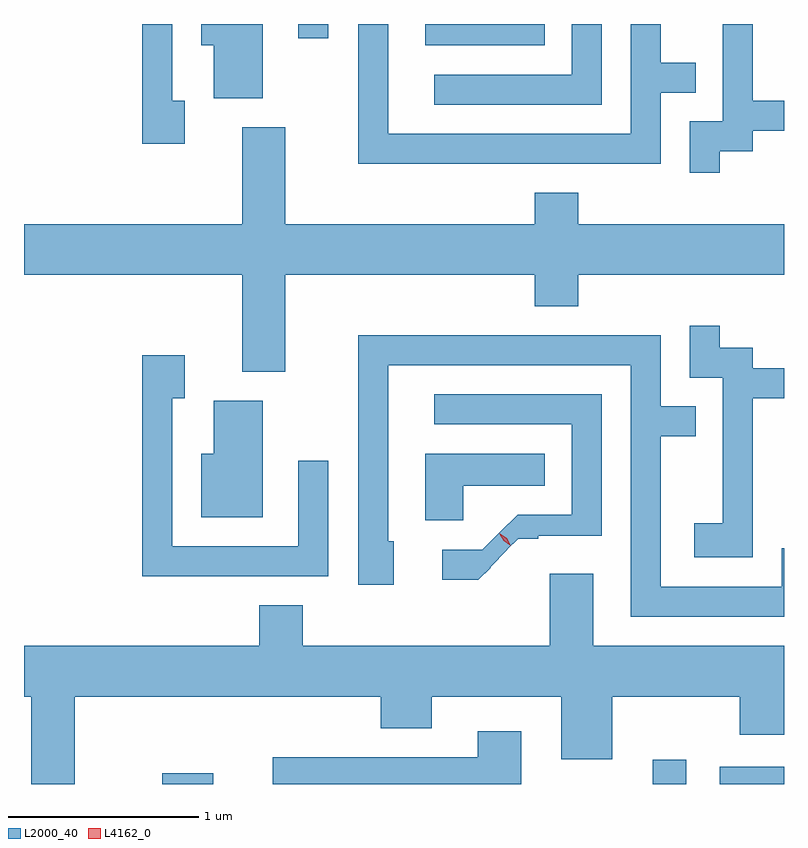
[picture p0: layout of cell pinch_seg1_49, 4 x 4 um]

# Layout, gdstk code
import gdstk
lib = gdstk.Library(unit=1e-6, precision=1e-09)
def R(c, l, rs):  # rectangles x0, y0, x1, y1
    for r in rs: c.add(gdstk.rectangle(r[:2], r[2:], *l))
def P(c, l, *ps):  # polygons
    for p in ps: c.add(gdstk.Polygon(p, *l))
L2000_40 = (2000, 40)
L4162_0 = (4162, 0)

pinch_seg1_49 = lib.new_cell('pinch_seg1_49')
R(pinch_seg1_49, L2000_40, [(1384.961,903.557,1385.229,903.614), (1387.541,903.557,1387.719,903.684), (1387.896,903.557,1388.233,903.649), (1386.346,907.446,1386.973,907.557), (1385.676,907.483,1385.834,907.557)])
P(pinch_seg1_49, L2000_40, [(1385.489,907.557),(1385.166,907.557),(1385.166,907.446),(1385.231,907.446),(1385.231,907.166),(1385.489,907.166)],
  [(1387.584,907.196),(1387.768,907.196),(1387.768,907.354),(1387.584,907.354),(1387.584,907.557),(1387.426,907.557),(1387.426,906.979),(1386.149,906.979),(1386.149,907.557),(1385.991,907.557),(1385.991,906.821),(1387.584,906.821)],
  [(1385.079,907.154),(1385.014,907.154),(1385.014,907.557),(1384.856,907.557),(1384.856,906.926),(1385.079,906.926)],
  [(1387.894,906.886),(1388.069,906.886),(1388.069,906.996),(1388.233,906.996),(1388.233,907.154),(1388.069,907.154),(1388.069,907.557),(1387.911,907.557),(1387.911,907.044),(1387.736,907.044),(1387.736,906.773),(1387.894,906.773)],
  [(1387.274,907.557),(1387.116,907.557),(1387.116,907.289),(1386.393,907.289),(1386.393,907.131),(1387.274,907.131)],
  [(1385.381,907.014),(1385.381,906.504),(1384.233,906.504),(1384.233,906.236),(1385.381,906.236),(1385.381,905.726),(1385.609,905.726),(1385.609,906.236),(1386.921,906.236),(1386.921,906.071),(1387.149,906.071),(1387.149,906.236),(1388.233,906.236),(1388.233,906.504),(1387.149,906.504),(1387.149,906.669),(1386.921,906.669),(1386.921,906.504),(1385.609,906.504),(1385.609,907.014)],
  [(1388.069,905.586),(1388.233,905.586),(1388.233,905.744),(1388.069,905.744),(1388.069,905.854),(1387.894,905.854),(1387.894,905.968),(1387.736,905.968),(1387.736,905.696),(1387.911,905.696),(1387.911,904.929),(1387.761,904.929),(1387.761,904.751),(1388.069,904.751)],
  [(1388.233,904.799),(1388.221,904.799),(1388.221,904.594),(1387.584,904.594),(1387.584,905.386),(1387.768,905.386),(1387.768,905.544),(1387.584,905.544),(1387.584,905.919),(1385.991,905.919),(1385.991,904.606),(1386.179,904.606),(1386.179,904.834),(1386.149,904.834),(1386.149,905.761),(1387.426,905.761),(1387.426,904.436),(1388.233,904.436)],
  [(1385.834,905.258),(1385.676,905.258),(1385.676,904.809),(1385.014,904.809),(1385.014,905.586),(1385.079,905.586),(1385.079,905.814),(1384.856,905.814),(1384.856,904.651),(1385.834,904.651)],
  [(1386.689,904.695),(1386.687,904.698),(1386.777,904.789),(1386.775,904.79),(1386.833,904.848),(1386.94,904.848),(1386.94,904.863),(1387.274,904.863),(1387.274,905.609),(1386.393,905.609),(1386.393,905.451),(1387.116,905.451),(1387.116,904.974),(1386.831,904.974),(1386.738,904.882),(1386.737,904.883),(1386.646,904.791),(1386.433,904.791),(1386.433,904.631),(1386.625,904.631)],
  [(1385.489,905.574),(1385.231,905.574),(1385.231,905.294),(1385.166,905.294),(1385.166,904.961),(1385.489,904.961)],
  [(1386.544,905.126),(1386.973,905.126),(1386.973,905.294),(1386.346,905.294),(1386.346,904.946),(1386.544,904.946)],
  [(1384.499,904.016),(1386.111,904.016),(1386.111,903.851),(1386.379,903.851),(1386.379,904.016),(1387.061,904.016),(1387.061,903.686),(1387.329,903.686),(1387.329,904.016),(1388.001,904.016),(1388.001,903.816),(1388.233,903.816),(1388.233,904.284),(1387.229,904.284),(1387.229,904.664),(1387.001,904.664),(1387.001,904.284),(1385.699,904.284),(1385.699,904.499),(1385.471,904.499),(1385.471,904.284),(1384.233,904.284),(1384.233,904.016),(1384.271,904.016),(1384.271,903.557),(1384.499,903.557)],
  [(1386.849,903.834),(1386.621,903.834),(1386.621,903.699),(1385.541,903.699),(1385.541,903.557),(1386.849,903.557)])
P(pinch_seg1_49, L4162_0, [(1386.792,904.815),(1386.758,904.837),(1386.738,904.872),(1386.738,904.873),(1386.739,904.873),(1386.773,904.851),(1386.793,904.816),(1386.793,904.815)],
  [(1386.796,904.811),(1386.758,904.837),(1386.734,904.877),(1386.734,904.878),(1386.734,904.878),(1386.772,904.851),(1386.796,904.811),(1386.796,904.811)])

lib.write_gds('pinch_seg1_49.gds')
